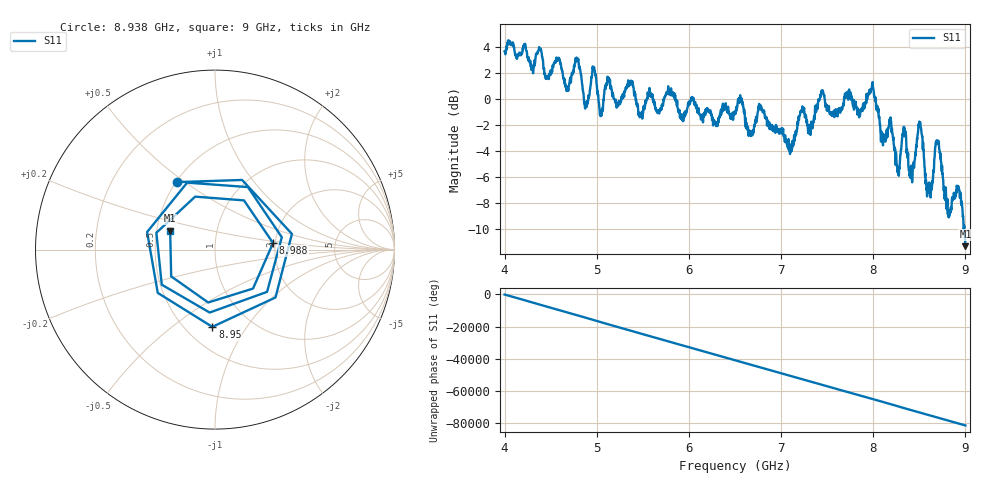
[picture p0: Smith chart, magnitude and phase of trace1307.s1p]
! Created with skrf 1.8.0 (http://scikit-rf.org).
# Hz S RI R 50.0
!freq ReS11 ImS11
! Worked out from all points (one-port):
!   1601 points, 4 GHz to 9 GHz, reference 50 ohm
!   lowest |S11| = -11.3 dB at 9 GHz (marker M1), VSWR 1.74, Z = 29.4 + j6.73 ohm
!   |S11| at or under -10 dB: 8.980864 GHz to 8.982075 GHz (1.211 MHz wide, 0.0135 % of centre); 8.989229 GHz to end of sweep
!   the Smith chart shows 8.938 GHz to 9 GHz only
!   S11 on the Smith chart (normalised r, x): 8.938 GHz: 0.50, +0.47; 8.95 GHz: 0.67, -0.71; 8.988 GHz: 1.95, +0.16; 9 GHz: 0.59, +0.13
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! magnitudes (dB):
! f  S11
! 4 GHz  3.7
! 4.625 GHz  2.1
! 4.881 GHz  -0.3
! 4.966 GHz  2.4
! 5.25 GHz  -0.4
! 5.362 GHz  1.3
! 5.475 GHz  -1.3
! 5.875 GHz  -0.6
! 6.5 GHz  -1.1
! 7.125 GHz  -3.2
! 7.444 GHz  0.5
! 7.566 GHz  -1.3
! 7.75 GHz  0.2
! 7.991 GHz  1.1
! 8.106 GHz  -3.6
! 8.194 GHz  -1.7
! 8.262 GHz  -5.5
! 8.331 GHz  -2.1
! 8.375 GHz  -4.6
! 8.419 GHz  -5.6
! 8.509 GHz  -1.8
! 8.6 GHz  -6.5
! 8.694 GHz  -3.5
! 8.816 GHz  -9.0
! 8.938 GHz  -7.3
! 8.95 GHz  -7.3
! 8.988 GHz  -9.7
! 9 GHz  -11.3
